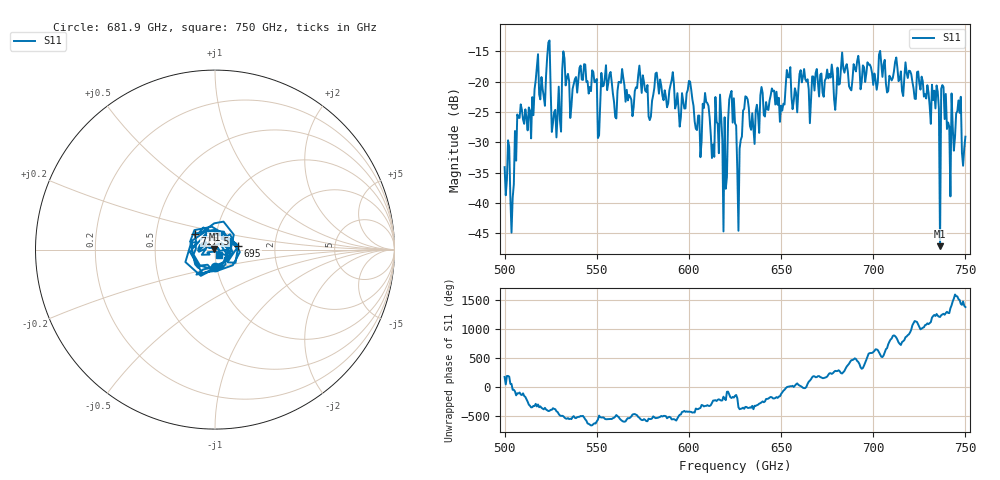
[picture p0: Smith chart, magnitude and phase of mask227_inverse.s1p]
!Created with skrf (http://scikit-rf.org).
# GHz S MA R 50.0
!freq magS11 angS11
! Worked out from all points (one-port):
!   401 points, 500 GHz to 750 GHz, reference 50 ohm
!   lowest |S11| = -47.1 dB at 736.2 GHz (marker M1), VSWR 1.01, Z = 49.7 + j0.322 ohm
!   |S11| at or under -10 dB: start of sweep to end of sweep
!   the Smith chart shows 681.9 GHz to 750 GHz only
!   S11 on the Smith chart (normalised r, x): 681.9 GHz: 0.98, -0.19; 695 GHz: 1.30, +0.06; 717.5 GHz: 0.79, +0.14; 750 GHz: 1.04, -0.06
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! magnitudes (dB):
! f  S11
! 500 GHz  -34.1
! 504.4 GHz  -39.2
! 508.1 GHz  -26.0
! 517.5 GHz  -17.7
! 523.8 GHz  -13.6
! 526.9 GHz  -25.0
! 531.2 GHz  -18.1
! 562.5 GHz  -20.1
! 593.8 GHz  -21.9
! 600.6 GHz  -20.0
! 605.6 GHz  -25.6
! 609.4 GHz  -23.3
! 619.4 GHz  -25.9
! 622.5 GHz  -22.1
! 625 GHz  -26.9
! 627.5 GHz  -31.0
! 630.6 GHz  -22.4
! 656.2 GHz  -24.5
! 681.9 GHz  -20.4
! 687.5 GHz  -21.2
! 695 GHz  -17.6
! 717.5 GHz  -16.8
! 718.8 GHz  -19.4
! 736.2 GHz  -47.1
! 738.1 GHz  -20.9
! 743.1 GHz  -27.4
! 746.2 GHz  -23.1
! 750 GHz  -29.1
